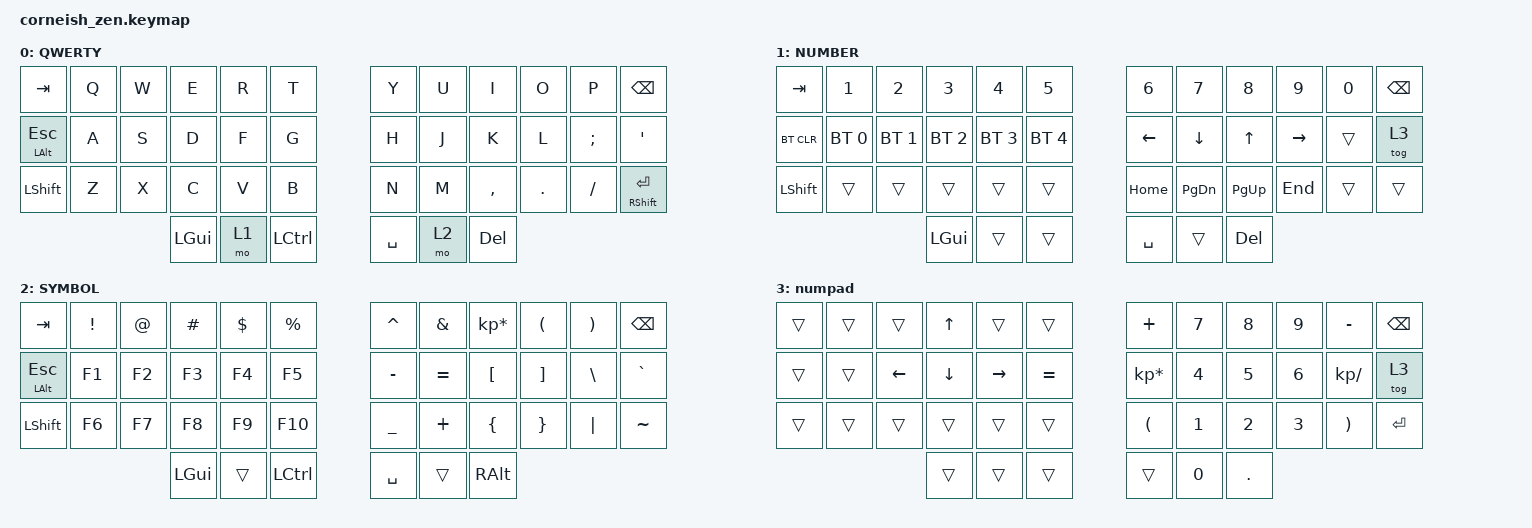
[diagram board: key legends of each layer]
#include <behaviors.dtsi>
#include <dt-bindings/zmk/bt.h>
#include <dt-bindings/zmk/keys.h>

/ {
    chosen {
        zmk,physical-layout = &foostan_corne_6col_layout;

        // zmk,physical-layout = &foostan_corne_5col_layout;
    };
};

/ {
    behaviors {
        new_behavior: new_behavior {
            compatible = "zmk,behavior-toggle-layer";
            label = "NEW_BEHAVIOR";
            #binding-cells = <1>;
            toggle-mode = "flip";
        };
    };

    combos {
        compatible = "zmk,combos";

        caps {
            bindings = <&kp CAPS>;
            key-positions = <24 35>;
            layers = <0>;
        };
    };

    keymap {
        compatible = "zmk,keymap";

        default_layer {
            display-name = "QWERTY";

            // -----------------------------------------------------------------------------------------
            // |  TAB |  Q  |  W  |  E  |  R  |  T  |   |  Y  |  U   |  I  |  O  |  P  | BKSP |
            // |ESC(A)|  A  |  S  |  D  |  F  |  G  |   |  H  |  J   |  K  |  L  |  ;  |  '   |
            // | SHFT |  Z  |  X  |  C  |  V  |  B  |   |  N  |  M   |  ,  |  .  |  /  | ENT  |
            //                    | GUI | LWR |LCTRL|   | SPC | RSE  | DEL |

            bindings = <
&kp TAB       &kp Q  &kp W  &kp E     &kp R  &kp T        &kp Y      &kp U  &kp I      &kp O    &kp P     &kp BSPC
&mt LALT ESC  &kp A  &kp S  &kp D     &kp F  &kp G        &kp H      &kp J  &kp K      &kp L    &kp SEMI  &kp SQT
&kp LSHFT     &kp Z  &kp X  &kp C     &kp V  &kp B        &kp N      &kp M  &kp COMMA  &kp DOT  &kp FSLH  &mt RSHFT RET
                            &kp LGUI  &mo 1  &kp LCTRL    &kp SPACE  &mo 2  &kp DEL
            >;
        };

        lower_layer {
            label = "NUMBER";

            // -----------------------------------------------------------------------------------------
            // |  TAB |  1  |  2  |  3  |  4  |  5  |   |  6  |  7  |  8  |  9  |  0  | BKSP |
            // | BTCLR| BT1 | BT2 | BT3 | BT4 | BT5 |   | LFT | DWN |  UP | RGT |     |      |
            // | SHFT |     |     |     |     |     |   |     |     |     |     |     |      |
            //                    | GUI |     |LCTRL|   | SPC |     | DEL |

            bindings = <
&kp TAB     &kp N1        &kp N2        &kp N3        &kp N4        &kp N5          &kp N6     &kp N7     &kp N8     &kp N9     &kp N0  &kp BSPC
&bt BT_CLR  &bt BT_SEL 0  &bt BT_SEL 1  &bt BT_SEL 2  &bt BT_SEL 3  &bt BT_SEL 4    &kp LEFT   &kp DOWN   &kp UP     &kp RIGHT  &trans  &tog 3
&kp LSHFT   &trans        &trans        &trans        &trans        &trans          &kp HOME   &kp PG_DN  &kp PG_UP  &kp END    &trans  &trans
                                        &kp LGUI      &trans        &trans          &kp SPACE  &trans     &kp DEL
            >;
        };

        raise_layer {
            label = "SYMBOL";

            // -----------------------------------------------------------------------------------------
            // |  TAB |  !  |  @  |  #  |  $  |  %  |   |  ^  |  &  |  *  |  (  |  )  | BKSP |
            // |ESC(A)|     |     |     |     |     |   |  -  |  =  |  [  |  ]  |  \  |  `   |
            // | SHFT |     |     |     |     |     |   |  _  |  +  |  {  |  }  | "|" |  ~   |
            //                    | GUI |     |LCTRL|   | SPC |     | DEL |

            bindings = <
&kp TAB       &kp EXCL  &kp AT  &kp HASH  &kp DLLR  &kp PRCNT    &kp CARET  &kp AMPS   &kp KP_MULTIPLY  &kp LPAR  &kp RPAR  &kp BSPC
&mt LALT ESC  &kp F1    &kp F2  &kp F3    &kp F4    &kp F5       &kp MINUS  &kp EQUAL  &kp LBKT         &kp RBKT  &kp BSLH  &kp GRAVE
&kp LSHFT     &kp F6    &kp F7  &kp F8    &kp F9    &kp F10      &kp UNDER  &kp PLUS   &kp LBRC         &kp RBRC  &kp PIPE  &kp TILDE
                                &kp LGUI  &trans    &kp LCTRL    &kp SPACE  &trans     &kp RALT
            >;
        };

        numpad {
            bindings = <
&trans  &trans  &trans    &kp UP    &trans     &trans       &kp PLUS              &kp NUMBER_7  &kp NUMBER_8  &kp NUMBER_9  &kp MINUS              &kp BSPC
&trans  &trans  &kp LEFT  &kp DOWN  &kp RIGHT  &kp EQUAL    &kp KP_MULTIPLY       &kp NUMBER_4  &kp NUMBER_5  &kp NUMBER_6  &kp KP_DIVIDE          &tog 3
&trans  &trans  &trans    &trans    &trans     &trans       &kp LEFT_PARENTHESIS  &kp N1        &kp NUMBER_2  &kp NUMBER_3  &kp RIGHT_PARENTHESIS  &kp ENTER
                          &trans    &trans     &trans       &trans                &kp N0        &kp DOT
            >;

            label = "numpad";
        };
    };
};
